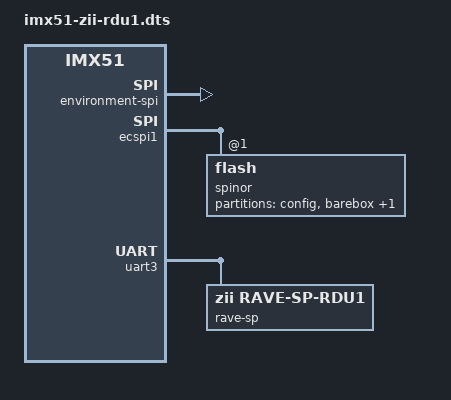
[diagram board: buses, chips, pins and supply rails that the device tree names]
/*
 * Copyright 2018 CogentEmbedded, Inc.
 * Copyright 2011 Freescale Semiconductor, Inc.
 * Copyright 2011 Linaro Ltd.
 *
 * The code contained herein is licensed under the GNU General Public
 * License. You may obtain a copy of the GNU General Public License
 * Version 2 or later at the following locations:
 *
 * http://www.opensource.org/licenses/gpl-license.html
 * http://www.gnu.org/copyleft/gpl.html
 */

#include <arm/imx51-zii-rdu1.dts>

/ {
	chosen {
		stdout-path = &uart1;

		environment-spi {
			compatible = "barebox,environment";
			device-path = &spinor, "partname:barebox-environment";
		};
	};
};

&ecspi1 {
	spinor: flash@1 {
		partition@0 {
			label = "config";
			reg = <0x0 0x400>;
		};
		partition@400 {
			label = "barebox";
			reg = <0x400 0xdfc00>;
		};
		partition@e0000 {
			label = "barebox-environment";
			reg = <0xe0000 0x20000>;
		};
	};
};

/* No support for the needed DSA setup in Barebox right now */
&fec {
	status = "disabled";
};

&uart3 {
	rave-sp {
		compatible = "zii,rave-sp-rdu1";
		current-speed = <38400>;

		#address-cells = <1>;
		#size-cells = <1>;
		
		watchdog {
			compatible = "zii,rave-sp-watchdog";
		};

		dds_eeprom: eeprom@a3 {
			compatible = "zii,rave-sp-eeprom";
			reg = <0xa3 0x2000>;
		};

		main_eeprom: eeprom@a4 {
			compatible = "zii,rave-sp-eeprom";
			reg = <0xa4 0x4000>;
		};

		backlight {
			compatible = "zii,rave-sp-backlight";
			singlestep;
		};
	};
};

/* Timings for supported panel types */
/ {
	disp0 {
		interface-pix-fmt = "rgb24";
		display-timings {
			toshiba89 {
				clock-frequency = <80000000>;
				hactive = <1280>;
				vactive = <768>;
				hback-porch = <192>;
				hsync-len = <128>;
				hfront-porch = <64>;
				vback-porch = <20>;
				vsync-len = <7>;
				vfront-porch = <3>;
				pixelclk-active = <0>;
				hsync-active = <0>;
				vsync-active = <0>;
				de-active = <1>;
			};

			chimei15 {
				clock-frequency = <71000000>;
				hactive = <1280>;
				vactive = <800>;
				hback-porch = <76>;
				hsync-len = <33>;
				hfront-porch = <51>;
				vback-porch = <11>;
				vsync-len = <10>;
				vfront-porch = <2>;
				pixelclk-active = <0>;
				hsync-active = <0>;
				vsync-active = <0>;
				de-active = <1>;
			};
		};
	};
};
